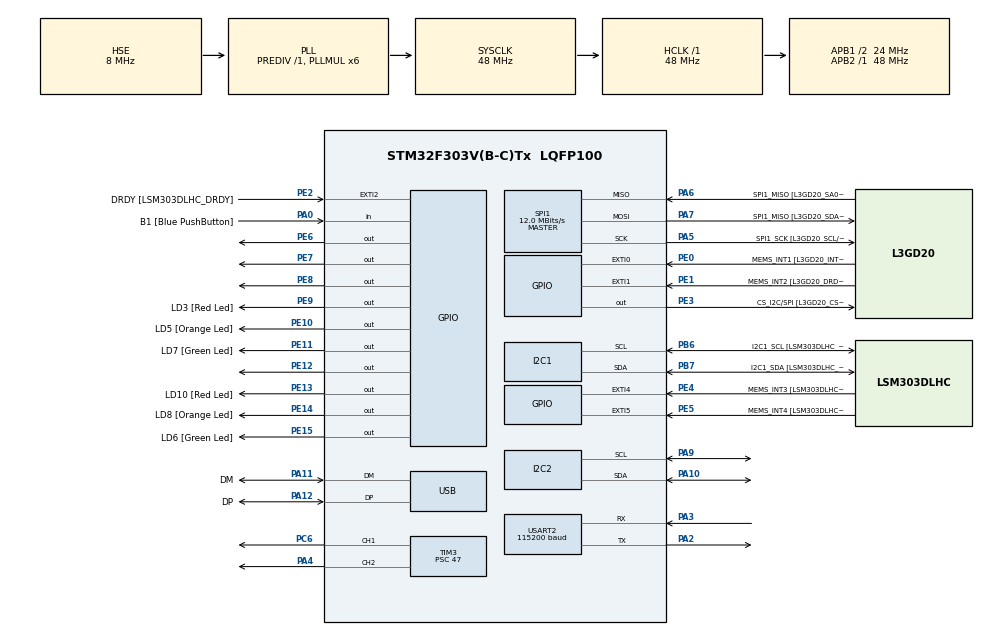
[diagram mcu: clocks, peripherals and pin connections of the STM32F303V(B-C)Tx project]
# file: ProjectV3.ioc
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I2C1.Timing=0x00201D2B
I2C1.Timing-I2C=0x2000090E
I2C2.Timing=0x00201D2B
Mcu.Family=STM32F3
Mcu.Name=STM32F303V(B-C)Tx
Mcu.Package=LQFP100
NVIC.PriorityGroup=NVIC_PRIORITYGROUP_0
NVIC.TIM2_IRQn=true\:0\:0\:false\:false\:true\:true\:true\:true
PA0.GPIO_Label=B1 [Blue PushButton]
PA0.Signal=GPIO_Input
PA10.Mode=I2C
PA10.Signal=I2C2_SDA
PA11.GPIO_Label=DM
PA11.Mode=Device
PA11.Signal=USB_DM
PA12.GPIO_Label=DP
PA12.Mode=Device
PA12.Signal=USB_DP
PA13.GPIO_Label=SWDIO
PA13.Mode=Serial_Wire
PA13.Signal=SYS_JTMS-SWDIO
PA14.GPIO_Label=SWCLK
PA14.Mode=Serial_Wire
PA14.Signal=SYS_JTCK-SWCLK
PA2.Mode=Asynchronous
PA2.Signal=USART2_TX
PA3.Mode=Asynchronous
PA3.Signal=USART2_RX
PA4.Signal=S_TIM3_CH2
PA5.GPIO_Label=SPI1_SCK [L3GD20_SCL/SPC]
PA5.Mode=Full_Duplex_Master
PA5.Signal=SPI1_SCK
PA6.GPIO_Label=SPI1_MISO [L3GD20_SA0/SDO]
PA6.Mode=Full_Duplex_Master
PA6.Signal=SPI1_MISO
PA7.GPIO_Label=SPI1_MISO [L3GD20_SDA/SDI/SDO]
PA7.Mode=Full_Duplex_Master
PA7.Signal=SPI1_MOSI
PA9.Mode=I2C
PA9.Signal=I2C2_SCL
PB3.GPIO_Label=SWO
PB3.Signal=SYS_JTDO-TRACESWO
PB6.GPIO_Label=I2C1_SCL [LSM303DLHC_SCL]
PB6.GPIO_Pu=GPIO_PULLUP
PB6.Mode=I2C
PB6.Signal=I2C1_SCL
PB7.GPIO_Label=I2C1_SDA [LSM303DLHC_SDA]
PB7.GPIO_Pu=GPIO_PULLUP
PB7.Mode=I2C
PB7.Signal=I2C1_SDA
PC14-OSC32_IN.GPIO_Label=OSC32_IN
PC14-OSC32_IN.Signal=RCC_OSC32_IN
PC15-OSC32_OUT.GPIO_Label=OSC32_OUT
PC15-OSC32_OUT.Signal=RCC_OSC32_OUT
PC6.Signal=S_TIM3_CH1
PE0.GPIO_Label=MEMS_INT1 [L3GD20_INT1]
PE0.GPIO_ModeDefaultEXTI=GPIO_MODE_EVT_RISING
PE0.Signal=GPXTI0
PE1.GPIO_Label=MEMS_INT2 [L3GD20_DRDY/INT2]
PE1.GPIO_ModeDefaultEXTI=GPIO_MODE_EVT_RISING
PE1.Signal=GPXTI1
PE10.GPIO_Label=LD5 [Orange Led]
PE10.Signal=GPIO_Output
PE11.GPIO_Label=LD7 [Green Led]
PE11.Signal=GPIO_Output
PE12.Signal=GPIO_Output
PE13.GPIO_Label=LD10 [Red Led]
PE13.Signal=GPIO_Output
PE14.GPIO_Label=LD8 [Orange Led]
PE14.Signal=GPIO_Output
PE15.GPIO_Label=LD6 [Green Led]
PE15.Signal=GPIO_Output
PE2.GPIO_Label=DRDY [LSM303DLHC_DRDY]
PE2.GPIO_ModeDefaultEXTI=GPIO_MODE_EVT_RISING
PE2.Signal=GPXTI2
PE3.GPIO_Label=CS_I2C/SPI [L3GD20_CS_I2C/SPI]
PE3.Signal=GPIO_Output
PE4.GPIO_Label=MEMS_INT3 [LSM303DLHC_INT1]
PE4.GPIO_ModeDefaultEXTI=GPIO_MODE_EVT_RISING
PE4.Signal=GPXTI4
PE5.GPIO_Label=MEMS_INT4 [LSM303DLHC_INT2]
PE5.GPIO_ModeDefaultEXTI=GPIO_MODE_EVT_RISING
PE5.Signal=GPXTI5
PE6.Signal=GPIO_Output
PE7.Signal=GPIO_Output
PE8.Signal=GPIO_Output
PE9.GPIO_Label=LD3 [Red Led]
PE9.Signal=GPIO_Output
PF0-OSC_IN.GPIO_Label=OSC_IN
PF0-OSC_IN.Mode=HSE-External-Clock-Source
PF0-OSC_IN.Signal=RCC_OSC_IN
PF1-OSC_OUT.GPIO_Label=OSC_OUT
PF1-OSC_OUT.Signal=RCC_OSC_OUT
ProjectManager.HeapSize=0x200
ProjectManager.StackSize=0x400
ProjectManager.TargetToolchain=CMake
RCC.AHBFreq_Value=48000000
RCC.APB1CLKDivider=RCC_HCLK_DIV2
RCC.APB1Freq_Value=24000000
RCC.APB1TimFreq_Value=48000000
RCC.APB2Freq_Value=48000000
RCC.APB2TimFreq_Value=48000000
RCC.CortexFreq_Value=48000000
RCC.HCLKFreq_Value=48000000
RCC.HSE_VALUE=8000000
RCC.HSI_VALUE=8000000
RCC.LSE_VALUE=32768
RCC.PLLMUL=RCC_PLL_MUL6
RCC.SYSCLKFreq_VALUE=48000000
RCC.SYSCLKSourceVirtual=RCC_SYSCLKSOURCE_PLLCLK
RCC.USBFreq_Value=48000000
SH.S_TIM3_CH1.0=TIM3_CH1,PWM Generation1 CH1
SH.S_TIM3_CH2.0=TIM3_CH2,PWM Generation2 CH2
SPI1.BaudRatePrescaler=SPI_BAUDRATEPRESCALER_4
SPI1.BaudRatePrescaler-Full_Duplex_Master=SPI_BAUDRATEPRESCALER_2
SPI1.CalculateBaudRate=12.0 MBits/s
SPI1.CalculateBaudRate-Full_Duplex_Master=24.0 MBits/s
SPI1.Direction=SPI_DIRECTION_2LINES
SPI1.Mode=SPI_MODE_MASTER
SPI1.Mode-Full_Duplex_Master=SPI_MODE_MASTER
SPI1.VirtualType=VM_MASTER
TIM2.Period=4999
TIM2.Prescaler=47
TIM3.Channel-PWM\ Generation1\ CH1=TIM_CHANNEL_1
TIM3.Channel-PWM\ Generation2\ CH2=TIM_CHANNEL_2
TIM3.Period=999
TIM3.Prescaler=47
USART2.BaudRate=115200
USART2.VirtualMode-Asynchronous=VM_ASYNC
VP_TIM2_VS_ClockSourceINT.Mode=Internal
board=STM32F3DISCOVERY

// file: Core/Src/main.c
/* USER CODE BEGIN Header */
/**
  ******************************************************************************
  * @file           : main.c
  * @brief          : Self-Balancing Robot - Main Integration
  ******************************************************************************
  */
/* USER CODE END Header */
#include "main.h"

/* USER CODE BEGIN Includes */
#include <math.h>
#include <stdio.h>
#include <string.h>
#include <stdarg.h>
/* USER CODE END Includes */

/* USER CODE BEGIN PD */

/* ---- Sampling Time ---- */
#define DT 0.005f            // 200Hz -> 1/200 = 0.005s

/* ---- PID Gains (SET TO ZERO FOR NOW TO FIND SETPOINT) ---- */
#define KP  25.0f
#define KI  0.1f
#define KD  0.65f

/* ---- Setpoint ---- */
// Target angle. You will change this number after reading the serial monitor!
#define SETPOINT 0.0f

/* ---- Output Limits ---- */
#define PID_OUT_MAX  999.0f   // TIM3 period = 999, max PWM
#define PID_OUT_MIN -999.0f

/* ---- Integral Anti-Windup Limit ---- */
#define INTEGRAL_MAX  200.0f
#define INTEGRAL_MIN -200.0f

/* ---- Complementary Filter Weights ---- */
#define COMP_GYRO_WEIGHT  0.98f
#define COMP_ACC_WEIGHT   0.02f

/* USER CODE END PD */

I2C_HandleTypeDef hi2c1;
I2C_HandleTypeDef hi2c2;

SPI_HandleTypeDef hspi1;

TIM_HandleTypeDef htim2;
TIM_HandleTypeDef htim3;

UART_HandleTypeDef huart2;

PCD_HandleTypeDef hpcd_USB_FS;

/* USER CODE BEGIN PV */
/* ---- Angle Estimation Variables ---- */
volatile float shared_angle   = 0.0f;   // Bridge between ISR and main
volatile float shared_pid_out = 0.0f;   // PID output for display
volatile uint8_t display_flag = 0;

// For display/debug in main loop
float gyro_rate = 0.0f;
float acc_angle = 0.0f;
/* USER CODE END PV */

void SystemClock_Config(void);
static void MX_GPIO_Init(void);
static void MX_I2C1_Init(void);
static void MX_SPI1_Init(void);
static void MX_TIM3_Init(void);
static void MX_USB_PCD_Init(void);
static void MX_I2C2_Init(void);
static void MX_TIM2_Init(void);
static void MX_USART2_UART_Init(void);

/* USER CODE BEGIN 0 */

/* ============================================================
 * I3G4250D (Gyroscope) SPI Read/Write
 * ============================================================ */
void I3G_WriteReg(uint8_t reg_addr, uint8_t data) {
    uint8_t tx_buffer[2];
    tx_buffer[0] = reg_addr & 0x7F;  // Bit 7 = 0 for WRITE
    tx_buffer[1] = data;

    // Use CS pin (PE3)
    HAL_GPIO_WritePin(GPIOE, GPIO_PIN_3, GPIO_PIN_RESET); // CS LOW
    HAL_SPI_Transmit(&hspi1, tx_buffer, 2, HAL_MAX_DELAY);
    HAL_GPIO_WritePin(GPIOE, GPIO_PIN_3, GPIO_PIN_SET);   // CS HIGH
}

uint8_t I3G_ReadReg(uint8_t reg_addr) {
    uint8_t tx_data = reg_addr | 0x80;  // Bit 7 = 1 for READ
    uint8_t rx_data;

    HAL_GPIO_WritePin(GPIOE, GPIO_PIN_3, GPIO_PIN_RESET);
    HAL_SPI_Transmit(&hspi1, &tx_data, 1, HAL_MAX_DELAY);
    HAL_SPI_Receive(&hspi1, &rx_data, 1, HAL_MAX_DELAY);
    HAL_GPIO_WritePin(GPIOE, GPIO_PIN_3, GPIO_PIN_SET);

    return rx_data;
}

/* ============================================================
 * Motor Control Functions (Using Verified GPIOE Pins)
 * ============================================================ */

void Motor_Left_Forward(uint16_t speed) {
    HAL_GPIO_WritePin(GPIOE, GPIO_PIN_7, GPIO_PIN_SET);    // PE7 = HIGH
    HAL_GPIO_WritePin(GPIOE, GPIO_PIN_6, GPIO_PIN_RESET);  // PE6 = LOW
    __HAL_TIM_SET_COMPARE(&htim3, TIM_CHANNEL_2, speed);
}

void Motor_Left_Backward(uint16_t speed) {
    HAL_GPIO_WritePin(GPIOE, GPIO_PIN_7, GPIO_PIN_RESET);  // PE7 = LOW
    HAL_GPIO_WritePin(GPIOE, GPIO_PIN_6, GPIO_PIN_SET);    // PE6 = HIGH
    __HAL_TIM_SET_COMPARE(&htim3, TIM_CHANNEL_2, speed);
}

void Motor_Left_Stop(void) {
    HAL_GPIO_WritePin(GPIOE, GPIO_PIN_7, GPIO_PIN_SET);
    HAL_GPIO_WritePin(GPIOE, GPIO_PIN_6, GPIO_PIN_SET);
    __HAL_TIM_SET_COMPARE(&htim3, TIM_CHANNEL_2, 0);
}

void Motor_Right_Forward(uint16_t speed) {
    HAL_GPIO_WritePin(GPIOE, GPIO_PIN_8, GPIO_PIN_SET);    // PE8 = HIGH
    HAL_GPIO_WritePin(GPIOE, GPIO_PIN_12, GPIO_PIN_RESET); // PE12 = LOW
    __HAL_TIM_SET_COMPARE(&htim3, TIM_CHANNEL_1, speed);
}

void Motor_Right_Backward(uint16_t speed) {
    HAL_GPIO_WritePin(GPIOE, GPIO_PIN_8, GPIO_PIN_RESET);  // PE8 = LOW
    HAL_GPIO_WritePin(GPIOE, GPIO_PIN_12, GPIO_PIN_SET);   // PE12 = HIGH
    __HAL_TIM_SET_COMPARE(&htim3, TIM_CHANNEL_1, speed);
}

void Motor_Right_Stop(void) {
    HAL_GPIO_WritePin(GPIOE, GPIO_PIN_8, GPIO_PIN_SET);
    HAL_GPIO_WritePin(GPIOE, GPIO_PIN_12, GPIO_PIN_SET);
    __HAL_TIM_SET_COMPARE(&htim3, TIM_CHANNEL_1, 0);
}

/* ============================================================
 * Drive logic based on PID
 * ============================================================ */
void Motors_Drive(float pid_output) {
    uint16_t pwm_val;

    if (pid_output > 0) {
        if (pid_output > PID_OUT_MAX) pid_output = PID_OUT_MAX;
        pwm_val = (uint16_t)pid_output;
        Motor_Left_Forward(pwm_val);
        Motor_Right_Forward(pwm_val);
    }
    else if (pid_output < 0) {
        float abs_out = -pid_output;
        if (abs_out > PID_OUT_MAX) abs_out = PID_OUT_MAX;
        pwm_val = (uint16_t)abs_out;
        Motor_Left_Backward(pwm_val);
        Motor_Right_Backward(pwm_val);
    }
    else {
        Motor_Left_Stop();
        Motor_Right_Stop();
    }
}

/* UART Print Helper */
void cout(const char *fmt, ...) {
    char buffer[128];
    va_list args;
    va_start(args, fmt);
    int l = vsnprintf(buffer, sizeof(buffer), fmt, args);
    va_end(args);
    if (l > 0) {
        HAL_UART_Transmit(&huart2, (uint8_t*)buffer, l, HAL_MAX_DELAY);
    }
}

/* USER CODE END 0 */

int main(void)
{

  /* MCU Configuration--------------------------------------------------------*/

  /* Reset of all peripherals, Initializes the Flash interface and the Systick. */
  HAL_Init();

  /* Configure the system clock */
  SystemClock_Config();

  /* Initialize all configured peripherals */
  MX_GPIO_Init();
  MX_I2C1_Init();
  MX_SPI1_Init();
  MX_TIM3_Init();
  MX_USB_PCD_Init();
  MX_I2C2_Init();
  MX_TIM2_Init();
  MX_USART2_UART_Init();
  /* USER CODE BEGIN 2 */

  // ---- Initialize Gyroscope (I3G4250D via SPI) ----
  // CTRL_REG1 = 0x20: 200Hz ODR, normal mode, XYZ enable
  I3G_WriteReg(0x20, 0x4F);

  // ---- Initialize Accelerometer (LSM303DLHC via I2C) ----
  // CTRL_REG1_A = 0x20, value 0x57 = 100Hz, normal mode, XYZ enabled
  uint8_t acc_init[2] = {0x20, 0x57};
  HAL_I2C_Master_Transmit(&hi2c1, 0x32, acc_init, 2, 50);

  // ---- Start PWM on both channels for motor speed control ----
  HAL_TIM_PWM_Start(&htim3, TIM_CHANNEL_1);
  HAL_TIM_PWM_Start(&htim3, TIM_CHANNEL_2);

  // Initialize motors stopped
  Motor_Left_Stop();
  Motor_Right_Stop();

  // ---- Start TIM2 interrupt for 200Hz control loop ----
  HAL_TIM_Base_Start_IT(&htim2);

  // Small delay to let sensors settle
  HAL_Delay(100);

  /* USER CODE END 2 */

  /* Infinite loop */
  /* USER CODE BEGIN WHILE */
  while (1)
  {
      if (display_flag == 1) {
          display_flag = 0;

          // Float printing bypass for embedded C
          int shared_angle_i = (int)shared_angle;
          int shared_angle_f = (int)(fabsf(shared_angle - shared_angle_i) * 100);

          int acc_angle_i = (int)acc_angle;
          int acc_angle_f = (int)(fabsf(acc_angle - acc_angle_i) * 100);

          int gyro_rate_i = (int)gyro_rate;
          int gyro_rate_f = (int)(fabsf(gyro_rate - gyro_rate_i) * 100);

          int shared_pid_out_i = (int)shared_pid_out;
          int shared_pid_out_f = (int)(fabsf(shared_pid_out - shared_pid_out_i) * 100);

          // Print to Serial Monitor
          cout("Angle: %d.%02d  |  Acc: %d.%02d  |  Gyro: %d.%02d  |  PID: %d.%02d\r\n",
                shared_angle_i, shared_angle_f,
                acc_angle_i, acc_angle_f,
                gyro_rate_i, gyro_rate_f,
                shared_pid_out_i, shared_pid_out_f);
      }
    /* USER CODE END WHILE */

  }
}

void SystemClock_Config(void)
{
  RCC_OscInitTypeDef RCC_OscInitStruct = {0};
  RCC_ClkInitTypeDef RCC_ClkInitStruct = {0};
  RCC_PeriphCLKInitTypeDef PeriphClkInit = {0};

  /** Initializes the RCC Oscillators according to the specified parameters
  * in the RCC_OscInitTypeDef structure.
  */
  RCC_OscInitStruct.OscillatorType = RCC_OSCILLATORTYPE_HSI|RCC_OSCILLATORTYPE_HSE;
  RCC_OscInitStruct.HSEState = RCC_HSE_BYPASS;
  RCC_OscInitStruct.HSEPredivValue = RCC_HSE_PREDIV_DIV1;
  RCC_OscInitStruct.HSIState = RCC_HSI_ON;
  RCC_OscInitStruct.HSICalibrationValue = RCC_HSICALIBRATION_DEFAULT;
  RCC_OscInitStruct.PLL.PLLState = RCC_PLL_ON;
  RCC_OscInitStruct.PLL.PLLSource = RCC_PLLSOURCE_HSE;
  RCC_OscInitStruct.PLL.PLLMUL = RCC_PLL_MUL6;
  if (HAL_RCC_OscConfig(&RCC_OscInitStruct) != HAL_OK)
  {
    Error_Handler();
  }

  /** Initializes the CPU, AHB and APB buses clocks
  */
  RCC_ClkInitStruct.ClockType = RCC_CLOCKTYPE_HCLK|RCC_CLOCKTYPE_SYSCLK
                              |RCC_CLOCKTYPE_PCLK1|RCC_CLOCKTYPE_PCLK2;
  RCC_ClkInitStruct.SYSCLKSource = RCC_SYSCLKSOURCE_PLLCLK;
  RCC_ClkInitStruct.AHBCLKDivider = RCC_SYSCLK_DIV1;
  RCC_ClkInitStruct.APB1CLKDivider = RCC_HCLK_DIV2;
  RCC_ClkInitStruct.APB2CLKDivider = RCC_HCLK_DIV1;

  if (HAL_RCC_ClockConfig(&RCC_ClkInitStruct, FLASH_LATENCY_1) != HAL_OK)
  {
    Error_Handler();
  }
  PeriphClkInit.PeriphClockSelection = RCC_PERIPHCLK_USB|RCC_PERIPHCLK_USART2
                              |RCC_PERIPHCLK_I2C1|RCC_PERIPHCLK_I2C2;
  PeriphClkInit.Usart2ClockSelection = RCC_USART2CLKSOURCE_PCLK1;
  PeriphClkInit.I2c1ClockSelection = RCC_I2C1CLKSOURCE_HSI;
  PeriphClkInit.I2c2ClockSelection = RCC_I2C2CLKSOURCE_HSI;
  PeriphClkInit.USBClockSelection = RCC_USBCLKSOURCE_PLL;
  if (HAL_RCCEx_PeriphCLKConfig(&PeriphClkInit) != HAL_OK)
  {
    Error_Handler();
  }
}

static void MX_I2C1_Init(void)
{
  hi2c1.Instance = I2C1;
  hi2c1.Init.Timing = 0x00201D2B;
  hi2c1.Init.OwnAddress1 = 0;
  hi2c1.Init.AddressingMode = I2C_ADDRESSINGMODE_7BIT;
  hi2c1.Init.DualAddressMode = I2C_DUALADDRESS_DISABLE;
  hi2c1.Init.OwnAddress2 = 0;
  hi2c1.Init.OwnAddress2Masks = I2C_OA2_NOMASK;
  hi2c1.Init.GeneralCallMode = I2C_GENERALCALL_DISABLE;
  hi2c1.Init.NoStretchMode = I2C_NOSTRETCH_DISABLE;
  if (HAL_I2C_Init(&hi2c1) != HAL_OK)
  {
    Error_Handler();
  }
  if (HAL_I2CEx_ConfigAnalogFilter(&hi2c1, I2C_ANALOGFILTER_ENABLE) != HAL_OK)
  {
    Error_Handler();
  }
  if (HAL_I2CEx_ConfigDigitalFilter(&hi2c1, 0) != HAL_OK)
  {
    Error_Handler();
  }
}

static void MX_I2C2_Init(void)
{
  hi2c2.Instance = I2C2;
  hi2c2.Init.Timing = 0x00201D2B;
  hi2c2.Init.OwnAddress1 = 0;
  hi2c2.Init.AddressingMode = I2C_ADDRESSINGMODE_7BIT;
  hi2c2.Init.DualAddressMode = I2C_DUALADDRESS_DISABLE;
  hi2c2.Init.OwnAddress2 = 0;
  hi2c2.Init.OwnAddress2Masks = I2C_OA2_NOMASK;
  hi2c2.Init.GeneralCallMode = I2C_GENERALCALL_DISABLE;
  hi2c2.Init.NoStretchMode = I2C_NOSTRETCH_DISABLE;
  if (HAL_I2C_Init(&hi2c2) != HAL_OK)
  {
    Error_Handler();
  }
  if (HAL_I2CEx_ConfigAnalogFilter(&hi2c2, I2C_ANALOGFILTER_ENABLE) != HAL_OK)
  {
    Error_Handler();
  }
  if (HAL_I2CEx_ConfigDigitalFilter(&hi2c2, 0) != HAL_OK)
  {
    Error_Handler();
  }
}

static void MX_SPI1_Init(void)
{
  hspi1.Instance = SPI1;
  hspi1.Init.Mode = SPI_MODE_MASTER;
  hspi1.Init.Direction = SPI_DIRECTION_2LINES;
  hspi1.Init.DataSize = SPI_DATASIZE_4BIT;
  hspi1.Init.CLKPolarity = SPI_POLARITY_LOW;
  hspi1.Init.CLKPhase = SPI_PHASE_1EDGE;
  hspi1.Init.NSS = SPI_NSS_SOFT;
  hspi1.Init.BaudRatePrescaler = SPI_BAUDRATEPRESCALER_4;
  hspi1.Init.FirstBit = SPI_FIRSTBIT_MSB;
  hspi1.Init.TIMode = SPI_TIMODE_DISABLE;
  hspi1.Init.CRCCalculation = SPI_CRCCALCULATION_DISABLE;
  hspi1.Init.CRCPolynomial = 7;
  hspi1.Init.CRCLength = SPI_CRC_LENGTH_DATASIZE;
  hspi1.Init.NSSPMode = SPI_NSS_PULSE_ENABLE;
  if (HAL_SPI_Init(&hspi1) != HAL_OK)
  {
    Error_Handler();
  }
}

static void MX_TIM2_Init(void)
{
  TIM_ClockConfigTypeDef sClockSourceConfig = {0};
  TIM_MasterConfigTypeDef sMasterConfig = {0};

  htim2.Instance = TIM2;
  htim2.Init.Prescaler = 47;
  htim2.Init.CounterMode = TIM_COUNTERMODE_UP;
  htim2.Init.Period = 4999;
  htim2.Init.ClockDivision = TIM_CLOCKDIVISION_DIV1;
  htim2.Init.AutoReloadPreload = TIM_AUTORELOAD_PRELOAD_DISABLE;
  if (HAL_TIM_Base_Init(&htim2) != HAL_OK)
  {
    Error_Handler();
  }
  sClockSourceConfig.ClockSource = TIM_CLOCKSOURCE_INTERNAL;
  if (HAL_TIM_ConfigClockSource(&htim2, &sClockSourceConfig) != HAL_OK)
  {
    Error_Handler();
  }
  sMasterConfig.MasterOutputTrigger = TIM_TRGO_RESET;
  sMasterConfig.MasterSlaveMode = TIM_MASTERSLAVEMODE_DISABLE;
  if (HAL_TIMEx_MasterConfigSynchronization(&htim2, &sMasterConfig) != HAL_OK)
  {
    Error_Handler();
  }
}

static void MX_TIM3_Init(void)
{
  TIM_MasterConfigTypeDef sMasterConfig = {0};
  TIM_OC_InitTypeDef sConfigOC = {0};

  htim3.Instance = TIM3;
  htim3.Init.Prescaler = 47;
  htim3.Init.CounterMode = TIM_COUNTERMODE_UP;
  htim3.Init.Period = 999;
  htim3.Init.ClockDivision = TIM_CLOCKDIVISION_DIV1;
  htim3.Init.AutoReloadPreload = TIM_AUTORELOAD_PRELOAD_DISABLE;
  if (HAL_TIM_PWM_Init(&htim3) != HAL_OK)
  {
    Error_Handler();
  }
  sMasterConfig.MasterOutputTrigger = TIM_TRGO_RESET;
  sMasterConfig.MasterSlaveMode = TIM_MASTERSLAVEMODE_DISABLE;
  if (HAL_TIMEx_MasterConfigSynchronization(&htim3, &sMasterConfig) != HAL_OK)
  {
    Error_Handler();
  }
  sConfigOC.OCMode = TIM_OCMODE_PWM1;
  sConfigOC.Pulse = 0;
  sConfigOC.OCPolarity = TIM_OCPOLARITY_HIGH;
  sConfigOC.OCFastMode = TIM_OCFAST_DISABLE;
  if (HAL_TIM_PWM_ConfigChannel(&htim3, &sConfigOC, TIM_CHANNEL_1) != HAL_OK)
  {
    Error_Handler();
  }
  if (HAL_TIM_PWM_ConfigChannel(&htim3, &sConfigOC, TIM_CHANNEL_2) != HAL_OK)
  {
    Error_Handler();
  }
  HAL_TIM_MspPostInit(&htim3);
}

static void MX_USART2_UART_Init(void)
{
  huart2.Instance = USART2;
  huart2.Init.BaudRate = 115200;
  huart2.Init.WordLength = UART_WORDLENGTH_8B;
  huart2.Init.StopBits = UART_STOPBITS_1;
  huart2.Init.Parity = UART_PARITY_NONE;
  huart2.Init.Mode = UART_MODE_TX_RX;
  huart2.Init.HwFlowCtl = UART_HWCONTROL_NONE;
  huart2.Init.OverSampling = UART_OVERSAMPLING_16;
  huart2.Init.OneBitSampling = UART_ONE_BIT_SAMPLE_DISABLE;
  huart2.AdvancedInit.AdvFeatureInit = UART_ADVFEATURE_NO_INIT;
  if (HAL_UART_Init(&huart2) != HAL_OK)
  {
    Error_Handler();
  }
}

static void MX_USB_PCD_Init(void)
{
  hpcd_USB_FS.Instance = USB;
  hpcd_USB_FS.Init.dev_endpoints = 8;
  hpcd_USB_FS.Init.speed = PCD_SPEED_FULL;
  hpcd_USB_FS.Init.phy_itface = PCD_PHY_EMBEDDED;
  hpcd_USB_FS.Init.low_power_enable = DISABLE;
  hpcd_USB_FS.Init.battery_charging_enable = DISABLE;
  if (HAL_PCD_Init(&hpcd_USB_FS) != HAL_OK)
  {
    Error_Handler();
  }
}

static void MX_GPIO_Init(void)
{
  GPIO_InitTypeDef GPIO_InitStruct = {0};

  /* GPIO Ports Clock Enable */
  __HAL_RCC_GPIOE_CLK_ENABLE();
  __HAL_RCC_GPIOC_CLK_ENABLE();
  __HAL_RCC_GPIOF_CLK_ENABLE();
  __HAL_RCC_GPIOA_CLK_ENABLE();
  __HAL_RCC_GPIOB_CLK_ENABLE();

  /*Configure GPIO pin Output Level */
  HAL_GPIO_WritePin(GPIOE, CS_I2C_SPI_Pin|GPIO_PIN_6|GPIO_PIN_7|GPIO_PIN_8
                          |LD3_Pin|LD5_Pin|LD7_Pin|GPIO_PIN_12
                          |LD10_Pin|LD8_Pin|LD6_Pin, GPIO_PIN_RESET);

  /*Configure GPIO pins */
  GPIO_InitStruct.Pin = DRDY_Pin|MEMS_INT3_Pin|MEMS_INT4_Pin|MEMS_INT1_Pin
                          |MEMS_INT2_Pin;
  GPIO_InitStruct.Mode = GPIO_MODE_EVT_RISING;
  GPIO_InitStruct.Pull = GPIO_NOPULL;
  HAL_GPIO_Init(GPIOE, &GPIO_InitStruct);

  /*Configure GPIO pins : CS_I2C_SPI_Pin PE6 PE7 PE8 ... */
  GPIO_InitStruct.Pin = CS_I2C_SPI_Pin|GPIO_PIN_6|GPIO_PIN_7|GPIO_PIN_8
                          |LD3_Pin|LD5_Pin|LD7_Pin|GPIO_PIN_12
                          |LD10_Pin|LD8_Pin|LD6_Pin;
  GPIO_InitStruct.Mode = GPIO_MODE_OUTPUT_PP;
  GPIO_InitStruct.Pull = GPIO_NOPULL;
  GPIO_InitStruct.Speed = GPIO_SPEED_FREQ_LOW;
  HAL_GPIO_Init(GPIOE, &GPIO_InitStruct);

  /*Configure GPIO pin : B1_Pin */
  GPIO_InitStruct.Pin = B1_Pin;
  GPIO_InitStruct.Mode = GPIO_MODE_INPUT;
  GPIO_InitStruct.Pull = GPIO_NOPULL;
  HAL_GPIO_Init(B1_GPIO_Port, &GPIO_InitStruct);
}

/* USER CODE BEGIN 4 */

/* ============================================================
 * TIM2 ISR Callback — runs at 200 Hz (every 5ms)
 * ============================================================ */
void HAL_TIM_PeriodElapsedCallback(TIM_HandleTypeDef *htim) {

    if (htim->Instance == TIM2) {

        static float tilt_angle    = 0.0f;
        static float integral      = 0.0f;
        static float prev_error    = 0.0f;
        static int   uart_counter  = 0;

        /* --- STEP 1: GYRO --- */
        uint8_t y_low  = I3G_ReadReg(0x2A);  // OUT_Y_L
        uint8_t y_high = I3G_ReadReg(0x2B);  // OUT_Y_H
        int16_t raw_gyro_y = (int16_t)((y_high << 8) | y_low);
        float gyro_y_dps = (float)raw_gyro_y * 0.00875f;

        /* --- STEP 2: ACCEL --- */
        uint8_t acc_reg = 0x28 | 0x80;
        uint8_t acc_buf[6] = {0};
        HAL_I2C_Master_Transmit(&hi2c1, 0x32, &acc_reg, 1, 10);
        HAL_I2C_Master_Receive(&hi2c1, 0x33, acc_buf, 6, 10);
        int16_t acc_raw_x = (int16_t)((acc_buf[1] << 8) | acc_buf[0]);
        int16_t acc_raw_z = (int16_t)((acc_buf[5] << 8) | acc_buf[4]);
        float acc_angle_deg = atan2f((float)acc_raw_x, (float)acc_raw_z) * (180.0f / 3.14159f);

        /* --- STEP 3: COMP FILTER --- */
        tilt_angle = COMP_GYRO_WEIGHT * (tilt_angle + gyro_y_dps * DT)
                   + COMP_ACC_WEIGHT  * acc_angle_deg;

        /* --- STEP 4: PID --- */
        float error = SETPOINT - tilt_angle;

        float p_term = KP * error;

        integral += KI * error * DT;
        if (integral > INTEGRAL_MAX) integral = INTEGRAL_MAX;
        if (integral < INTEGRAL_MIN) integral = INTEGRAL_MIN;

        float derivative = (error - prev_error) / DT;
        float d_term = KD * derivative;
        prev_error = error;

        float pid_output = p_term + integral + d_term;

        if (pid_output > PID_OUT_MAX) pid_output = PID_OUT_MAX;
        if (pid_output < PID_OUT_MIN) pid_output = PID_OUT_MIN;

        /* --- STEP 5: DRIVE --- */
        Motors_Drive(pid_output);

        /* --- STEP 6: SHARED VARS --- */
        shared_angle   = tilt_angle;
        shared_pid_out = pid_output;
        gyro_rate      = gyro_y_dps;
        acc_angle      = acc_angle_deg;

        /* --- STEP 7: UART THROTTLE (10Hz) --- */
        if (++uart_counter >= 20) {
            display_flag = 1;
            uart_counter = 0;
        }
    }
}

/* USER CODE END 4 */

void Error_Handler(void)
{
  __disable_irq();
  while (1)
  {
  }
}
